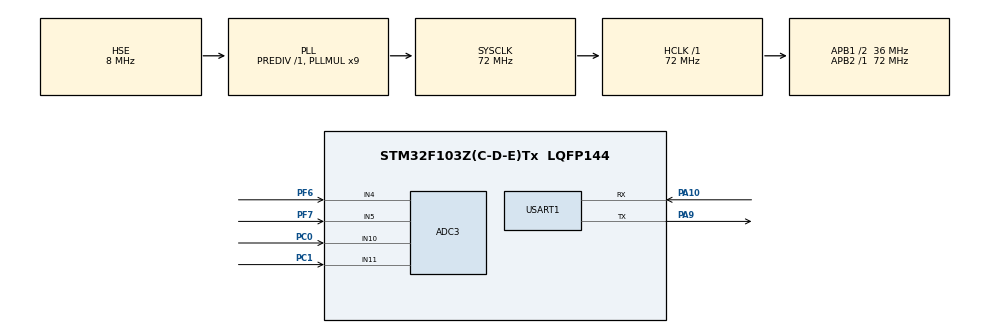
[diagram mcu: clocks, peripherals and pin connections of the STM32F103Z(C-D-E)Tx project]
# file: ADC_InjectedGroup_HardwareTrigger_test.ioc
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ADC3.Channel-1\#ChannelInjectedConversion=ADC_CHANNEL_11
ADC3.Channel-2\#ChannelInjectedConversion=ADC_CHANNEL_10
ADC3.Channel-3\#ChannelInjectedConversion=ADC_CHANNEL_5
ADC3.Channel-4\#ChannelInjectedConversion=ADC_CHANNEL_4
ADC3.EnableInjectedConversion=ENABLE
ADC3.EnableRegularConversion=DISABLE
ADC3.ExternalTrigInjecConv=ADC_EXTERNALTRIGINJECCONV_T1_TRGO
ADC3.InjNumberOfConversion=4
ADC3.InjectedOffset-1\#ChannelInjectedConversion=0
ADC3.InjectedOffset-2\#ChannelInjectedConversion=0
ADC3.InjectedOffset-3\#ChannelInjectedConversion=0
ADC3.InjectedOffset-4\#ChannelInjectedConversion=0
ADC3.InjectedRank-1\#ChannelInjectedConversion=1
ADC3.InjectedRank-2\#ChannelInjectedConversion=2
ADC3.InjectedRank-3\#ChannelInjectedConversion=3
ADC3.InjectedRank-4\#ChannelInjectedConversion=4
ADC3.SamplingTime-1\#ChannelInjectedConversion=ADC_SAMPLETIME_1CYCLE_5
ADC3.SamplingTime-2\#ChannelInjectedConversion=ADC_SAMPLETIME_1CYCLE_5
ADC3.SamplingTime-3\#ChannelInjectedConversion=ADC_SAMPLETIME_1CYCLE_5
ADC3.SamplingTime-4\#ChannelInjectedConversion=ADC_SAMPLETIME_1CYCLE_5
Mcu.Family=STM32F1
Mcu.Name=STM32F103Z(C-D-E)Tx
Mcu.Package=LQFP144
NVIC.ADC3_IRQn=true\:0\:0\:false\:false\:true\:true\:true\:true
NVIC.PriorityGroup=NVIC_PRIORITYGROUP_4
OSC_IN.Mode=HSE-External-Oscillator
OSC_IN.Signal=RCC_OSC_IN
OSC_OUT.Mode=HSE-External-Oscillator
OSC_OUT.Signal=RCC_OSC_OUT
PA10.Mode=Asynchronous
PA10.Signal=USART1_RX
PA13.Mode=Serial_Wire
PA13.Signal=SYS_JTMS-SWDIO
PA14.Mode=Serial_Wire
PA14.Signal=SYS_JTCK-SWCLK
PA9.Mode=Asynchronous
PA9.Signal=USART1_TX
PC0.Signal=ADCx_IN10
PC1.Signal=ADCx_IN11
PF6.Mode=IN4
PF6.Signal=ADC3_IN4
PF7.Mode=IN5
PF7.Signal=ADC3_IN5
ProjectManager.HeapSize=0x200
ProjectManager.StackSize=0x400
ProjectManager.TargetToolchain=MDK-ARM V5.32
RCC.ADCPresc=RCC_ADCPCLK2_DIV6
RCC.AHBFreq_Value=72000000
RCC.APB1CLKDivider=RCC_HCLK_DIV2
RCC.APB1Freq_Value=36000000
RCC.APB1TimFreq_Value=72000000
RCC.APB2Freq_Value=72000000
RCC.APB2TimFreq_Value=72000000
RCC.HCLKFreq_Value=72000000
RCC.PLLMUL=RCC_PLL_MUL9
RCC.PLLSourceVirtual=RCC_PLLSOURCE_HSE
RCC.SYSCLKFreq_VALUE=72000000
RCC.SYSCLKSource=RCC_SYSCLKSOURCE_PLLCLK
RCC.USBFreq_Value=72000000
SH.ADCx_IN10.0=ADC3_IN10,IN10
SH.ADCx_IN11.0=ADC3_IN11,IN11
TIM1.AutoReloadPreload=TIM_AUTORELOAD_PRELOAD_ENABLE
TIM1.Period=9999
TIM1.Prescaler=7199
TIM1.TIM_MasterOutputTrigger=TIM_TRGO_UPDATE
USART1.Parity=PARITY_ODD
USART1.VirtualMode=VM_ASYNC
USART1.WordLength=WORDLENGTH_9B
VP_TIM1_VS_ClockSourceINT.Mode=Internal
board=custom

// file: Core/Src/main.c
/* USER CODE BEGIN Header */
/**
  ******************************************************************************
  * @file           : main.c
  * @brief          : Main program body
  ******************************************************************************
  * @attention
  *
  * Copyright (c) 2026 STMicroelectronics.
  * All rights reserved.
  *
  * This software is licensed under terms that can be found in the LICENSE file
  * in the root directory of this software component.
  * If no LICENSE file comes with this software, it is provided AS-IS.
  *
  ******************************************************************************
  */
/* USER CODE END Header */
#include "main.h"
#include "adc.h"
#include "tim.h"
#include "usart.h"
#include "gpio.h"

/* USER CODE BEGIN Includes */
#include "BSP_Usart_Redir_V2.h"
#include <stdbool.h>
/* USER CODE END Includes */

/* USER CODE BEGIN PV */
volatile bool g_adc_status = false;
/* USER CODE END PV */

void SystemClock_Config(void);

int main(void)
{

  /* MCU Configuration--------------------------------------------------------*/

  /* Reset of all peripherals, Initializes the Flash interface and the Systick. */
  HAL_Init();

  /* Configure the system clock */
  SystemClock_Config();

  /* Initialize all configured peripherals */
  MX_GPIO_Init();
  MX_ADC3_Init();
  MX_TIM1_Init();
  MX_USART1_UART_Init();
  /* USER CODE BEGIN 2 */
  BSP_Usart_Init(&huart1);

  HAL_ADCEx_Calibration_Start(&hadc3);
  uint16_t values[4] = {0};
  const char* channel_name[4] = {
    "ADC CHANNEL 11",
    "ADC CHANNEL 10",
    "ADC CHANNEL 5",
    "ADC CHANNEL 4"
  };
  HAL_ADCEx_InjectedStart_IT(&hadc3);

  HAL_TIM_Base_Start(&htim1);
  /* USER CODE END 2 */

  /* Infinite loop */
  /* USER CODE BEGIN WHILE */
  while (1)
  {
    if(g_adc_status)
    {
      values[0] = HAL_ADCEx_InjectedGetValue(&hadc3,ADC_INJECTED_RANK_1);
      values[1] = HAL_ADCEx_InjectedGetValue(&hadc3,ADC_INJECTED_RANK_2);
      values[2] = HAL_ADCEx_InjectedGetValue(&hadc3,ADC_INJECTED_RANK_3);
      values[3] = HAL_ADCEx_InjectedGetValue(&hadc3,ADC_INJECTED_RANK_4);
      printf(">>> %d %d %d %d\n",values[0], values[1], values[2], values[3]);
      g_adc_status = false;
      HAL_ADCEx_InjectedStart_IT(&hadc3);
    }
    /* USER CODE END WHILE */

  }
}

void SystemClock_Config(void)
{
  RCC_OscInitTypeDef RCC_OscInitStruct = {0};
  RCC_ClkInitTypeDef RCC_ClkInitStruct = {0};
  RCC_PeriphCLKInitTypeDef PeriphClkInit = {0};

  /** Initializes the RCC Oscillators according to the specified parameters
  * in the RCC_OscInitTypeDef structure.
  */
  RCC_OscInitStruct.OscillatorType = RCC_OSCILLATORTYPE_HSE;
  RCC_OscInitStruct.HSEState = RCC_HSE_ON;
  RCC_OscInitStruct.HSEPredivValue = RCC_HSE_PREDIV_DIV1;
  RCC_OscInitStruct.HSIState = RCC_HSI_ON;
  RCC_OscInitStruct.PLL.PLLState = RCC_PLL_ON;
  RCC_OscInitStruct.PLL.PLLSource = RCC_PLLSOURCE_HSE;
  RCC_OscInitStruct.PLL.PLLMUL = RCC_PLL_MUL9;
  if (HAL_RCC_OscConfig(&RCC_OscInitStruct) != HAL_OK)
  {
    Error_Handler();
  }

  /** Initializes the CPU, AHB and APB buses clocks
  */
  RCC_ClkInitStruct.ClockType = RCC_CLOCKTYPE_HCLK|RCC_CLOCKTYPE_SYSCLK
                              |RCC_CLOCKTYPE_PCLK1|RCC_CLOCKTYPE_PCLK2;
  RCC_ClkInitStruct.SYSCLKSource = RCC_SYSCLKSOURCE_PLLCLK;
  RCC_ClkInitStruct.AHBCLKDivider = RCC_SYSCLK_DIV1;
  RCC_ClkInitStruct.APB1CLKDivider = RCC_HCLK_DIV2;
  RCC_ClkInitStruct.APB2CLKDivider = RCC_HCLK_DIV1;

  if (HAL_RCC_ClockConfig(&RCC_ClkInitStruct, FLASH_LATENCY_2) != HAL_OK)
  {
    Error_Handler();
  }
  PeriphClkInit.PeriphClockSelection = RCC_PERIPHCLK_ADC;
  PeriphClkInit.AdcClockSelection = RCC_ADCPCLK2_DIV6;
  if (HAL_RCCEx_PeriphCLKConfig(&PeriphClkInit) != HAL_OK)
  {
    Error_Handler();
  }
}

/* USER CODE BEGIN 4 */
void HAL_ADCEx_InjectedConvCpltCallback(ADC_HandleTypeDef* hadc)
{
  if(hadc == &hadc3)
  {
    g_adc_status = true;
  }
}

/* USER CODE END 4 */

void Error_Handler(void)
{
  __disable_irq();
  while (1)
  {
  }
}
